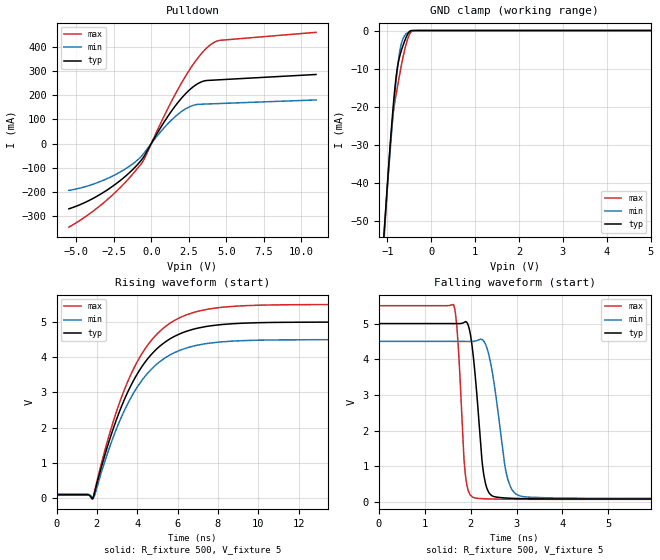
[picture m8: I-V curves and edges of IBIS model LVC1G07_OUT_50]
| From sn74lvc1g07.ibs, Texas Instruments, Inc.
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[Model]   LVC1G07_OUT_50
Model_type  Open_drain
Enable   Active-Low
Vref =   0
Rref =   500
Cref =   50p
Vmeas =   2.5
| variable   typ   min   max
C_comp   3.51pF   2.61pF   4.98pF
| C_pulldown   6.11pF   4.21pF   8.54pF
| C_tri-state   3.51pF   2.61pF   4.98pF
[Temperature Range]   40   100   -40
| Ambient temperature   25   85   -40
[Voltage range]   5   4.5   5.5
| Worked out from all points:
|   slope of the pulldown table from 0 to 0.75 V, typ, clamps not added: 9.57 ohm
|   GND clamp passes 1 mA (typ) near -0.54 V on its own axis
|   rising waveform, R_fixture 500, V_fixture 5: 20-80 % time 2.29ns typ, 2.27ns min, 2.3ns max; typ from 0.09 V to 5 V
|   falling waveform, R_fixture 500, V_fixture 5: 20-80 % time 192ps typ, 277ps min, 130ps max; typ from 5 V to 0.09 V
[GND Clamp]
| LVC1G07_OUT_50
|   Voltage   I(typ)   I(min)   I(max)
-5.5V     -945.7mA   -886mA     -1.02A
-1.095V   -56.19mA   -55.94mA   -58.19mA
-1.065V   -50.97mA   -51.08mA   -52.51mA
-955mV    -32.63mA   -33.92mA   -33.02mA
-890mV    -22.76mA   -24.46mA   -23.87mA
-840mV    -16.14mA   -17.73mA   -19.31mA
-790mV    -11mA      -11.76mA   -15.92mA
-730mV    -7.176mA   -6.173mA   -12.03mA
-670mV    -4.764mA   -2.885mA   -8.348mA
-570mV    -1.672mA   -804.1uA   -3.396mA
-470mV    -38.78uA   -221.2uA   -453uA
5V        30.43pA    275.2pA    975.5pA
[Pulldown]
| LVC1G07_OUT_50
|   Voltage   I(typ)   I(min)   I(max)
-5.5V     -269.9mA   -193.6mA   -345.7mA
-4.185V   -236.5mA   -174.3mA   -293.4mA
-2.855V   -188.4mA   -142.5mA   -227.5mA
-1.62V    -129.6mA   -100.6mA   -152.9mA
-665mV    -68.65mA   -52.91mA   -83.31mA
-440mV    -48.41mA   -36.14mA   -60.41mA
865mV     89.6mA     65.73mA    114.6mA
2.005V    186.5mA    131.6mA    248.9mA
3.025V    244.4mA    161.1mA    346.8mA
3.915V    261.3mA    163.9mA    406.6mA
4.585V    263.6mA    165.4mA    426.6mA
11V       285.4mA    180.2mA    459.7mA
[Ramp]
| LVC1G07_OUT_50
| variable   typ   min   max
dV/dt_r   3.01/2.32E-09   2.69/2.30E-09   3.33/2.34E-09
dV/dt_f   2.98/2.00E-10   2.67/2.87E-10   3.27/1.35E-10
R_load = 500
[Rising Waveform]
| LVC1G07_OUT_50
R_fixture =   500
C_fixture =   0
L_fixture =   0
V_fixture =   5
V_fixture_min = 4.5
V_fixture_max = 5.5
|   Time   V(typ)   V(min)   V(max)
0s        89.62mV    107.6mV    78.96mV
1.595ns   81.91mV    99.34mV    77.36mV
1.79ns    -19.03mV   21.24mV    -38.4mV
1.89ns    155.7mV    72.08mV    198.6mV
2.84ns    2.014V     1.768V     2.221V
3.865ns   3.388V     3.026V     3.722V
5.01ns    4.259V     3.824V     4.677V
6.405ns   4.731V     4.256V     5.198V
9.935ns   4.981V     4.484V     5.478V
24.99ns   5V         4.5V       5.5V
[Falling Waveform]
| LVC1G07_OUT_50
R_fixture =   500
C_fixture =   0
L_fixture =   0
V_fixture =   5
V_fixture_min = 4.5
V_fixture_max = 5.5
|   Time   V(typ)   V(min)   V(max)
0s        5V         4.5V       5.5V
1.63ns    4.999V     4.5V       5.522V
1.72ns    4.999V     4.5V       4.586V
1.885ns   5.05V      4.499V     791.9mV
2.12ns    3.261V     4.515V     111.3mV
2.255ns   1.09V      4.547V     98.12mV
2.36ns    371.6mV    4.301V     92.37mV
2.79ns    114.2mV    744.2mV    81.81mV
3.12ns    98.32mV    160mV      79.77mV
24.99ns   89.62mV    107.6mV    78.96mV
